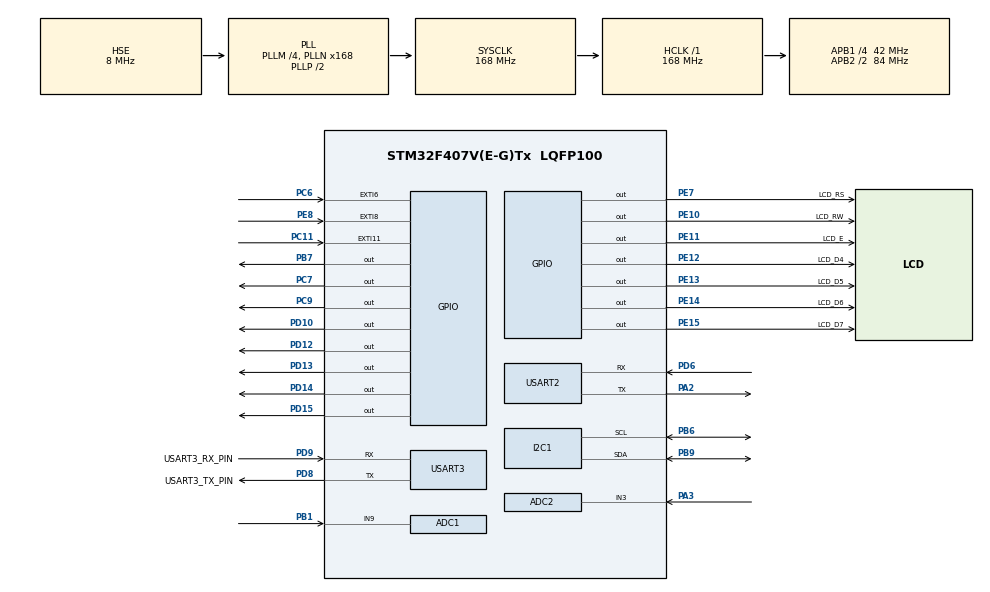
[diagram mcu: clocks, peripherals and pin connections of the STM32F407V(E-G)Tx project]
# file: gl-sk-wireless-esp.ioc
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ADC1.Channel-0\#ChannelRegularConversion=ADC_CHANNEL_9
ADC1.ClockPrescaler=ADC_CLOCK_SYNC_PCLK_DIV8
ADC1.NbrOfConversionFlag=1
ADC1.Rank-0\#ChannelRegularConversion=1
ADC1.SamplingTime-0\#ChannelRegularConversion=ADC_SAMPLETIME_480CYCLES
ADC1.ScanConvMode=DISABLE
ADC1.master=1
ADC2.Channel-1\#ChannelRegularConversion=ADC_CHANNEL_3
ADC2.ClockPrescaler=ADC_CLOCK_SYNC_PCLK_DIV8
ADC2.NbrOfConversionFlag=1
ADC2.Rank-1\#ChannelRegularConversion=1
ADC2.SamplingTime-1\#ChannelRegularConversion=ADC_SAMPLETIME_480CYCLES
FREERTOS.BinarySemaphores01=mBinSemDozeWater,Static,mBinSemDozeWaterControlBlock
FREERTOS.Queues01=myQueueCmds,128,uint8_t,0,Dynamic,NULL,NULL;myQueueDozeWater,1,int8_t,0,Dynamic,NULL,NULL;myQueueMsg,16,uint32_t,0,Dynamic,NULL,NULL
FREERTOS.Tasks01=defaultTask,0,228,StartDefaultTask,Default,NULL,Dynamic,NULL,NULL;TaskLeds,0,128,StartTaskLeds,Default,NULL,Dynamic,NULL,NULL;TaskAdc,0,128,StartTaskAdc,Default,NULL,Dynamic,NULL,NULL;TaskAt_debug,-1,128,task_at_debug,Default,NULL,Dynamic,NULL,NULL
FREERTOS.Timers01=myTimerPump,CallbackPump,osTimerOnce,Default,NULL,Dynamic,NULL
FREERTOS.configTOTAL_HEAP_SIZE=91536
FREERTOS.configUSE_TIMERS=1
Mcu.Family=STM32F4
Mcu.Name=STM32F407V(E-G)Tx
Mcu.Package=LQFP100
NVIC.EXTI15_10_IRQn=true\:5\:0\:false\:false\:true\:true\:true\:true
NVIC.EXTI9_5_IRQn=true\:5\:0\:false\:false\:true\:true\:true\:true
NVIC.PriorityGroup=NVIC_PRIORITYGROUP_4
NVIC.TIM6_DAC_IRQn=true\:0\:0\:false\:false\:true\:false\:false\:true
NVIC.TimeBase=TIM6_DAC_IRQn
NVIC.TimeBaseIP=TIM6
NVIC.USART2_IRQn=true\:5\:0\:false\:false\:true\:true\:true\:true
NVIC.USART3_IRQn=true\:5\:0\:false\:false\:true\:true\:true\:true
PA13.Mode=Serial_Wire
PA13.Signal=SYS_JTMS-SWDIO
PA14.Mode=Serial_Wire
PA14.Signal=SYS_JTCK-SWCLK
PA2.Mode=Asynchronous
PA2.Signal=USART2_TX
PA3.Signal=ADCx_IN3
PB1.Signal=ADCx_IN9
PB6.Mode=I2C
PB6.Signal=I2C1_SCL
PB7.Signal=GPIO_Output
PB9.Mode=I2C
PB9.Signal=I2C1_SDA
PC11.GPIO_ModeDefaultEXTI=GPIO_MODE_IT_RISING_FALLING
PC11.GPIO_PuPd=GPIO_PULLUP
PC11.Signal=GPXTI11
PC6.GPIO_ModeDefaultEXTI=GPIO_MODE_IT_FALLING
PC6.GPIO_PuPd=GPIO_PULLUP
PC6.Signal=GPXTI6
PC7.PinState=GPIO_PIN_SET
PC7.Signal=GPIO_Output
PC9.Signal=GPIO_Output
PD10.PinState=GPIO_PIN_SET
PD10.Signal=GPIO_Output
PD12.Signal=GPIO_Output
PD13.Signal=GPIO_Output
PD14.Signal=GPIO_Output
PD15.Signal=GPIO_Output
PD6.Mode=Asynchronous
PD6.Signal=USART2_RX
PD8.GPIO_Label=USART3_TX_PIN
PD8.Mode=Asynchronous
PD8.Signal=USART3_TX
PD9.GPIO_Label=USART3_RX_PIN
PD9.Mode=Asynchronous
PD9.Signal=USART3_RX
PE10.GPIO_Label=LCD_RW
PE10.GPIO_PuPd=GPIO_PULLDOWN
PE10.Signal=GPIO_Output
PE11.GPIO_Label=LCD_E
PE11.Signal=GPIO_Output
PE12.GPIO_Label=LCD_D4
PE12.Signal=GPIO_Output
PE13.GPIO_Label=LCD_D5
PE13.Signal=GPIO_Output
PE14.GPIO_Label=LCD_D6
PE14.Signal=GPIO_Output
PE15.GPIO_Label=LCD_D7
PE15.Signal=GPIO_Output
PE7.GPIO_Label=LCD_RS
PE7.PinState=GPIO_PIN_RESET
PE7.Signal=GPIO_Output
PE8.GPIO_ModeDefaultEXTI=GPIO_MODE_IT_RISING_FALLING
PE8.Signal=GPXTI8
PH0-OSC_IN.Mode=HSE-External-Oscillator
PH0-OSC_IN.Signal=RCC_OSC_IN
PH1-OSC_OUT.Mode=HSE-External-Oscillator
PH1-OSC_OUT.Signal=RCC_OSC_OUT
ProjectManager.HeapSize=0x200
ProjectManager.StackSize=0x400
ProjectManager.TargetToolchain=STM32CubeIDE
RCC.48MHZClocksFreq_Value=48000000
RCC.AHBFreq_Value=168000000
RCC.APB1CLKDivider=RCC_HCLK_DIV4
RCC.APB1Freq_Value=42000000
RCC.APB1TimFreq_Value=84000000
RCC.APB2CLKDivider=RCC_HCLK_DIV2
RCC.APB2Freq_Value=84000000
RCC.APB2TimFreq_Value=168000000
RCC.CortexFreq_Value=168000000
RCC.HCLKFreq_Value=168000000
RCC.HSE_VALUE=8000000
RCC.HSI_VALUE=16000000
RCC.LSE_VALUE=32768
RCC.PLLM=4
RCC.PLLN=168
RCC.PLLQ=7
RCC.PLLSourceVirtual=RCC_PLLSOURCE_HSE
RCC.SYSCLKFreq_VALUE=168000000
RCC.SYSCLKSource=RCC_SYSCLKSOURCE_PLLCLK
RCC.VCOOutputFreq_Value=336000000
SH.ADCx_IN3.0=ADC2_IN3,IN3
SH.ADCx_IN9.0=ADC1_IN9,IN9
USART2.VirtualMode=VM_ASYNC
USART3.VirtualMode=VM_ASYNC
VP_FREERTOS_VS_CMSIS_V1.Mode=CMSIS_V1
VP_SYS_VS_tim6.Mode=TIM6
board=STM32F4DISCOVERY

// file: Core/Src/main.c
/* USER CODE BEGIN Header */
/**
  ******************************************************************************
  * @file           : main.c
  * @brief          : Main program body
  ******************************************************************************
  * @attention
  *
  * <h2><center>&copy; Copyright (c) 2019 STMicroelectronics.
  * All rights reserved.</center></h2>
  *
  * This software component is licensed by ST under Ultimate Liberty license
  * SLA0044, the "License"; You may not use this file except in compliance with
  * the License. You may obtain a copy of the License at:
  *                             www.st.com/SLA0044
  *
  ******************************************************************************
  */
/* USER CODE END Header */

#include "main.h"
#include "cmsis_os.h"

/* USER CODE BEGIN Includes */
#include <string.h>
#include <stdio.h>
#include <stdbool.h>
#include "hd44780_driver.h"
#include "pca9685.h"
#include "jsmn.h"
#include "ringbuffer_dma.h"
/* USER CODE END Includes */

/* USER CODE BEGIN PD */
#define I2C_GPIO_ADDR	0x80
/* USER CODE END PD */

ADC_HandleTypeDef hadc1;
ADC_HandleTypeDef hadc2;

I2C_HandleTypeDef hi2c1;

UART_HandleTypeDef huart2;
UART_HandleTypeDef huart3;

osThreadId defaultTaskHandle;
osThreadId TaskLedsHandle;
osThreadId TaskAdcHandle;
osThreadId TaskAt_debugHandle;
osMessageQId myQueueCmdsHandle;
osMessageQId myQueueDozeWaterHandle;
osMessageQId myQueueMsgHandle;
osTimerId myTimerPumpHandle;
osSemaphoreId mBinSemDozeWaterHandle;
osStaticSemaphoreDef_t mBinSemDozeWaterControlBlock;
/* USER CODE BEGIN PV */
struct Status {
	int8_t isPumpOn;
	int8_t isFanOn;
	int8_t temperature;
	uint32_t gas;
} curStatus;
/* USER CODE END PV */

void SystemClock_Config(void);
static void MX_GPIO_Init(void);
static void MX_ADC1_Init(void);
static void MX_USART3_UART_Init(void);
static void MX_I2C1_Init(void);
static void MX_ADC2_Init(void);
static void MX_USART2_UART_Init(void);
void StartDefaultTask(void const * argument);
void StartTaskLeds(void const * argument);
void StartTaskAdc(void const * argument);
void task_at_debug(void const * argument);
void CallbackPump(void const * argument);

int main(void)
{

  /* MCU Configuration--------------------------------------------------------*/

  /* Reset of all peripherals, Initializes the Flash interface and the Systick. */
  HAL_Init();

  /* Configure the system clock */
  SystemClock_Config();

  /* Initialize all configured peripherals */
  MX_GPIO_Init();
  MX_ADC1_Init();
  MX_USART3_UART_Init();
  MX_I2C1_Init();
  MX_ADC2_Init();
  MX_USART2_UART_Init();
  /* USER CODE BEGIN 2 */
  pca9685_init(&hi2c1, I2C_GPIO_ADDR);
  pca9685_pwm(&hi2c1, I2C_GPIO_ADDR, 1, 0, 0);
  /* USER CODE END 2 */

  /* Create the semaphores(s) */
  /* definition and creation of mBinSemDozeWater */
  osSemaphoreStaticDef(mBinSemDozeWater, &mBinSemDozeWaterControlBlock);
  mBinSemDozeWaterHandle = osSemaphoreCreate(osSemaphore(mBinSemDozeWater), 1);

  /* Create the timer(s) */
  /* definition and creation of myTimerPump */
  osTimerDef(myTimerPump, CallbackPump);
  myTimerPumpHandle = osTimerCreate(osTimer(myTimerPump), osTimerOnce, NULL);

  /* Create the queue(s) */
  /* definition and creation of myQueueCmds */
  osMessageQDef(myQueueCmds, 128, uint8_t);
  myQueueCmdsHandle = osMessageCreate(osMessageQ(myQueueCmds), NULL);

  /* definition and creation of myQueueDozeWater */
  osMessageQDef(myQueueDozeWater, 1, int8_t);
  myQueueDozeWaterHandle = osMessageCreate(osMessageQ(myQueueDozeWater), NULL);

  /* definition and creation of myQueueMsg */
  osMessageQDef(myQueueMsg, 16, uint32_t);
  myQueueMsgHandle = osMessageCreate(osMessageQ(myQueueMsg), NULL);

  /* Create the thread(s) */
  /* definition and creation of defaultTask */
  osThreadDef(defaultTask, StartDefaultTask, osPriorityNormal, 0, 228);
  defaultTaskHandle = osThreadCreate(osThread(defaultTask), NULL);

  /* definition and creation of TaskLeds */
  osThreadDef(TaskLeds, StartTaskLeds, osPriorityNormal, 0, 128);
  TaskLedsHandle = osThreadCreate(osThread(TaskLeds), NULL);

  /* definition and creation of TaskAdc */
  osThreadDef(TaskAdc, StartTaskAdc, osPriorityNormal, 0, 128);
  TaskAdcHandle = osThreadCreate(osThread(TaskAdc), NULL);

  /* definition and creation of TaskAt_debug */
  osThreadDef(TaskAt_debug, task_at_debug, osPriorityBelowNormal, 0, 128);
  TaskAt_debugHandle = osThreadCreate(osThread(TaskAt_debug), NULL);

  /* Start scheduler */
  osKernelStart();

  /* We should never get here as control is now taken by the scheduler */
  /* Infinite loop */
  while (1)
  {

  }
}

void SystemClock_Config(void)
{
  RCC_OscInitTypeDef RCC_OscInitStruct = {0};
  RCC_ClkInitTypeDef RCC_ClkInitStruct = {0};

  /** Configure the main internal regulator output voltage
  */
  __HAL_RCC_PWR_CLK_ENABLE();
  __HAL_PWR_VOLTAGESCALING_CONFIG(PWR_REGULATOR_VOLTAGE_SCALE1);
  /** Initializes the CPU, AHB and APB busses clocks
  */
  RCC_OscInitStruct.OscillatorType = RCC_OSCILLATORTYPE_HSE;
  RCC_OscInitStruct.HSEState = RCC_HSE_ON;
  RCC_OscInitStruct.PLL.PLLState = RCC_PLL_ON;
  RCC_OscInitStruct.PLL.PLLSource = RCC_PLLSOURCE_HSE;
  RCC_OscInitStruct.PLL.PLLM = 4;
  RCC_OscInitStruct.PLL.PLLN = 168;
  RCC_OscInitStruct.PLL.PLLP = RCC_PLLP_DIV2;
  RCC_OscInitStruct.PLL.PLLQ = 7;
  if (HAL_RCC_OscConfig(&RCC_OscInitStruct) != HAL_OK)
  {
    Error_Handler();
  }
  /** Initializes the CPU, AHB and APB busses clocks
  */
  RCC_ClkInitStruct.ClockType = RCC_CLOCKTYPE_HCLK|RCC_CLOCKTYPE_SYSCLK
                              |RCC_CLOCKTYPE_PCLK1|RCC_CLOCKTYPE_PCLK2;
  RCC_ClkInitStruct.SYSCLKSource = RCC_SYSCLKSOURCE_PLLCLK;
  RCC_ClkInitStruct.AHBCLKDivider = RCC_SYSCLK_DIV1;
  RCC_ClkInitStruct.APB1CLKDivider = RCC_HCLK_DIV4;
  RCC_ClkInitStruct.APB2CLKDivider = RCC_HCLK_DIV2;

  if (HAL_RCC_ClockConfig(&RCC_ClkInitStruct, FLASH_LATENCY_5) != HAL_OK)
  {
    Error_Handler();
  }
}

static void MX_ADC1_Init(void)
{

  ADC_ChannelConfTypeDef sConfig = {0};

  /** Configure the global features of the ADC (Clock, Resolution, Data Alignment and number of conversion)
  */
  hadc1.Instance = ADC1;
  hadc1.Init.ClockPrescaler = ADC_CLOCK_SYNC_PCLK_DIV8;
  hadc1.Init.Resolution = ADC_RESOLUTION_12B;
  hadc1.Init.ScanConvMode = DISABLE;
  hadc1.Init.ContinuousConvMode = DISABLE;
  hadc1.Init.DiscontinuousConvMode = DISABLE;
  hadc1.Init.ExternalTrigConvEdge = ADC_EXTERNALTRIGCONVEDGE_NONE;
  hadc1.Init.ExternalTrigConv = ADC_SOFTWARE_START;
  hadc1.Init.DataAlign = ADC_DATAALIGN_RIGHT;
  hadc1.Init.NbrOfConversion = 1;
  hadc1.Init.DMAContinuousRequests = DISABLE;
  hadc1.Init.EOCSelection = ADC_EOC_SINGLE_CONV;
  if (HAL_ADC_Init(&hadc1) != HAL_OK)
  {
    Error_Handler();
  }
  /** Configure for the selected ADC regular channel its corresponding rank in the sequencer and its sample time.
  */
  sConfig.Channel = ADC_CHANNEL_9;
  sConfig.Rank = 1;
  sConfig.SamplingTime = ADC_SAMPLETIME_480CYCLES;
  if (HAL_ADC_ConfigChannel(&hadc1, &sConfig) != HAL_OK)
  {
    Error_Handler();
  }

}

static void MX_ADC2_Init(void)
{

  ADC_ChannelConfTypeDef sConfig = {0};

  /** Configure the global features of the ADC (Clock, Resolution, Data Alignment and number of conversion)
  */
  hadc2.Instance = ADC2;
  hadc2.Init.ClockPrescaler = ADC_CLOCK_SYNC_PCLK_DIV8;
  hadc2.Init.Resolution = ADC_RESOLUTION_12B;
  hadc2.Init.ScanConvMode = DISABLE;
  hadc2.Init.ContinuousConvMode = DISABLE;
  hadc2.Init.DiscontinuousConvMode = DISABLE;
  hadc2.Init.ExternalTrigConvEdge = ADC_EXTERNALTRIGCONVEDGE_NONE;
  hadc2.Init.ExternalTrigConv = ADC_SOFTWARE_START;
  hadc2.Init.DataAlign = ADC_DATAALIGN_RIGHT;
  hadc2.Init.NbrOfConversion = 1;
  hadc2.Init.DMAContinuousRequests = DISABLE;
  hadc2.Init.EOCSelection = ADC_EOC_SINGLE_CONV;
  if (HAL_ADC_Init(&hadc2) != HAL_OK)
  {
    Error_Handler();
  }
  /** Configure for the selected ADC regular channel its corresponding rank in the sequencer and its sample time.
  */
  sConfig.Channel = ADC_CHANNEL_3;
  sConfig.Rank = 1;
  sConfig.SamplingTime = ADC_SAMPLETIME_480CYCLES;
  if (HAL_ADC_ConfigChannel(&hadc2, &sConfig) != HAL_OK)
  {
    Error_Handler();
  }

}

static void MX_I2C1_Init(void)
{

  hi2c1.Instance = I2C1;
  hi2c1.Init.ClockSpeed = 100000;
  hi2c1.Init.DutyCycle = I2C_DUTYCYCLE_2;
  hi2c1.Init.OwnAddress1 = 0;
  hi2c1.Init.AddressingMode = I2C_ADDRESSINGMODE_7BIT;
  hi2c1.Init.DualAddressMode = I2C_DUALADDRESS_DISABLE;
  hi2c1.Init.OwnAddress2 = 0;
  hi2c1.Init.GeneralCallMode = I2C_GENERALCALL_DISABLE;
  hi2c1.Init.NoStretchMode = I2C_NOSTRETCH_DISABLE;
  if (HAL_I2C_Init(&hi2c1) != HAL_OK)
  {
    Error_Handler();
  }

}

static void MX_USART2_UART_Init(void)
{

  /* USER CODE BEGIN USART2_Init 1 */
	// recv interrupt force enable
	USART2->CR1 |= USART_CR1_RXNEIE;
  /* USER CODE END USART2_Init 1 */
  huart2.Instance = USART2;
  huart2.Init.BaudRate = 115200;
  huart2.Init.WordLength = UART_WORDLENGTH_8B;
  huart2.Init.StopBits = UART_STOPBITS_1;
  huart2.Init.Parity = UART_PARITY_NONE;
  huart2.Init.Mode = UART_MODE_TX_RX;
  huart2.Init.HwFlowCtl = UART_HWCONTROL_NONE;
  huart2.Init.OverSampling = UART_OVERSAMPLING_16;
  if (HAL_UART_Init(&huart2) != HAL_OK)
  {
    Error_Handler();
  }

}

static void MX_USART3_UART_Init(void)
{

  /* USER CODE BEGIN USART3_Init 1 */
	// recv interrupt force enable
	USART3->CR1 |= USART_CR1_RXNEIE;
  /* USER CODE END USART3_Init 1 */
  huart3.Instance = USART3;
  huart3.Init.BaudRate = 115200;
  huart3.Init.WordLength = UART_WORDLENGTH_8B;
  huart3.Init.StopBits = UART_STOPBITS_1;
  huart3.Init.Parity = UART_PARITY_NONE;
  huart3.Init.Mode = UART_MODE_TX_RX;
  huart3.Init.HwFlowCtl = UART_HWCONTROL_NONE;
  huart3.Init.OverSampling = UART_OVERSAMPLING_16;
  if (HAL_UART_Init(&huart3) != HAL_OK)
  {
    Error_Handler();
  }
  /* USER CODE BEGIN USART3_Init 2 */
  USART3->CR1 |= USART_CR1_RXNEIE;
  /* USER CODE END USART3_Init 2 */

}

static void MX_GPIO_Init(void)
{
  GPIO_InitTypeDef GPIO_InitStruct = {0};

  /* GPIO Ports Clock Enable */
  __HAL_RCC_GPIOH_CLK_ENABLE();
  __HAL_RCC_GPIOA_CLK_ENABLE();
  __HAL_RCC_GPIOB_CLK_ENABLE();
  __HAL_RCC_GPIOE_CLK_ENABLE();
  __HAL_RCC_GPIOD_CLK_ENABLE();
  __HAL_RCC_GPIOC_CLK_ENABLE();

  /*Configure GPIO pin Output Level */
  HAL_GPIO_WritePin(GPIOE, LCD_RS_Pin|LCD_RW_Pin|LCD_E_Pin|LCD_D4_Pin
                          |LCD_D5_Pin|LCD_D6_Pin|LCD_D7_Pin, GPIO_PIN_RESET);

  /*Configure GPIO pin Output Level */
  HAL_GPIO_WritePin(GPIOD, GPIO_PIN_10, GPIO_PIN_SET);

  /*Configure GPIO pin Output Level */
  HAL_GPIO_WritePin(GPIOD, GPIO_PIN_12|GPIO_PIN_13|GPIO_PIN_14|GPIO_PIN_15, GPIO_PIN_RESET);

  /*Configure GPIO pin Output Level */
  HAL_GPIO_WritePin(GPIOC, GPIO_PIN_7, GPIO_PIN_SET);

  /*Configure GPIO pin Output Level */
  HAL_GPIO_WritePin(GPIOC, GPIO_PIN_9, GPIO_PIN_RESET);

  /*Configure GPIO pin Output Level */
  HAL_GPIO_WritePin(GPIOB, GPIO_PIN_7, GPIO_PIN_RESET);

  /*Configure GPIO pins : LCD_RS_Pin LCD_E_Pin LCD_D4_Pin LCD_D5_Pin
                           LCD_D6_Pin LCD_D7_Pin */
  GPIO_InitStruct.Pin = LCD_RS_Pin|LCD_E_Pin|LCD_D4_Pin|LCD_D5_Pin
                          |LCD_D6_Pin|LCD_D7_Pin;
  GPIO_InitStruct.Mode = GPIO_MODE_OUTPUT_PP;
  GPIO_InitStruct.Pull = GPIO_NOPULL;
  GPIO_InitStruct.Speed = GPIO_SPEED_FREQ_LOW;
  HAL_GPIO_Init(GPIOE, &GPIO_InitStruct);

  /*Configure GPIO pin : PE8 */
  GPIO_InitStruct.Pin = GPIO_PIN_8;
  GPIO_InitStruct.Mode = GPIO_MODE_IT_RISING_FALLING;
  GPIO_InitStruct.Pull = GPIO_NOPULL;
  HAL_GPIO_Init(GPIOE, &GPIO_InitStruct);

  /*Configure GPIO pin : LCD_RW_Pin */
  GPIO_InitStruct.Pin = LCD_RW_Pin;
  GPIO_InitStruct.Mode = GPIO_MODE_OUTPUT_PP;
  GPIO_InitStruct.Pull = GPIO_PULLDOWN;
  GPIO_InitStruct.Speed = GPIO_SPEED_FREQ_LOW;
  HAL_GPIO_Init(LCD_RW_GPIO_Port, &GPIO_InitStruct);

  /*Configure GPIO pins : PD10 PD12 PD13 PD14
                           PD15 */
  GPIO_InitStruct.Pin = GPIO_PIN_10|GPIO_PIN_12|GPIO_PIN_13|GPIO_PIN_14
                          |GPIO_PIN_15;
  GPIO_InitStruct.Mode = GPIO_MODE_OUTPUT_PP;
  GPIO_InitStruct.Pull = GPIO_NOPULL;
  GPIO_InitStruct.Speed = GPIO_SPEED_FREQ_LOW;
  HAL_GPIO_Init(GPIOD, &GPIO_InitStruct);

  /*Configure GPIO pin : PC6 */
  GPIO_InitStruct.Pin = GPIO_PIN_6;
  GPIO_InitStruct.Mode = GPIO_MODE_IT_FALLING;
  GPIO_InitStruct.Pull = GPIO_PULLUP;
  HAL_GPIO_Init(GPIOC, &GPIO_InitStruct);

  /*Configure GPIO pins : PC7 PC9 */
  GPIO_InitStruct.Pin = GPIO_PIN_7|GPIO_PIN_9;
  GPIO_InitStruct.Mode = GPIO_MODE_OUTPUT_PP;
  GPIO_InitStruct.Pull = GPIO_NOPULL;
  GPIO_InitStruct.Speed = GPIO_SPEED_FREQ_LOW;
  HAL_GPIO_Init(GPIOC, &GPIO_InitStruct);

  /*Configure GPIO pin : PC11 */
  GPIO_InitStruct.Pin = GPIO_PIN_11;
  GPIO_InitStruct.Mode = GPIO_MODE_IT_RISING_FALLING;
  GPIO_InitStruct.Pull = GPIO_PULLUP;
  HAL_GPIO_Init(GPIOC, &GPIO_InitStruct);

  /*Configure GPIO pin : PB7 */
  GPIO_InitStruct.Pin = GPIO_PIN_7;
  GPIO_InitStruct.Mode = GPIO_MODE_OUTPUT_PP;
  GPIO_InitStruct.Pull = GPIO_NOPULL;
  GPIO_InitStruct.Speed = GPIO_SPEED_FREQ_LOW;
  HAL_GPIO_Init(GPIOB, &GPIO_InitStruct);

  /* EXTI interrupt init*/
  HAL_NVIC_SetPriority(EXTI9_5_IRQn, 5, 0);
  HAL_NVIC_EnableIRQ(EXTI9_5_IRQn);

  HAL_NVIC_SetPriority(EXTI15_10_IRQn, 5, 0);
  HAL_NVIC_EnableIRQ(EXTI15_10_IRQn);

}

/* USER CODE BEGIN 4 */
static void TurnFanOff(void){
//	HAL_GPIO_WritePin(GPIOC, GPIO_PIN_7, GPIO_PIN_SET);
	pca9685_pwm(&hi2c1, I2C_GPIO_ADDR, 1, 0, 0);
	osMessagePut(myQueueMsgHandle, (uint32_t)"Fan stopped", 1);
	curStatus.isFanOn = 0;
}

static void TurnFanOn(void){
//	HAL_GPIO_WritePin(GPIOC, GPIO_PIN_7, GPIO_PIN_RESET);
	pca9685_pwm(&hi2c1, I2C_GPIO_ADDR, 1, 0, 4095);
	osMessagePut(myQueueMsgHandle, (uint32_t)"Fan started", 1);
	curStatus.isFanOn = 1;
}

static void TurnPumpOff(void){
	//HAL_GPIO_WritePin(GPIOC, GPIO_PIN_9, GPIO_PIN_RESET);
	pca9685_pwm(&hi2c1, I2C_GPIO_ADDR, 0, 0, 0);
	osMessagePut(myQueueMsgHandle, (uint32_t)"Pump stopped", 1);
	curStatus.isPumpOn = 0;
}

static void TurnPumpOn(void){
	//HAL_GPIO_WritePin(GPIOC, GPIO_PIN_9, GPIO_PIN_SET);
	pca9685_pwm(&hi2c1, I2C_GPIO_ADDR, 0, 0, 4095);
	osMessagePut(myQueueMsgHandle, (uint32_t)"Pump started", 1);
	curStatus.isPumpOn = 1;
}

void DoseWater(void) {
	osStatus res = osMessagePut(myQueueDozeWaterHandle, 1, 1);
	if (res == osOK) {
		osMessagePut(myQueueCmdsHandle, PUMP_ON, 1);
		osTimerStart(myTimerPumpHandle, 50);
	}
}

static uint8_t LRC(const char *data) {
	uint8_t lrc = 0;
	//   for (const byte of data) {
	//     lrc += byte;
	//   }
	while(*data) {
	   lrc += *data++;
	}
	return ((lrc ^ 0xff) + 1) & 0xff;
}

const int8_t SOH = 0x01;
const int8_t STX = 0x02;
const int8_t ETX = 0x03;
const int8_t EOT = 0x04;

static void makePacket(const char *data, uint8_t *buf) {

	const int8_t HEADER_SIZE = 4;
//	const int8_t TRAILER_SIZE = 3;
//	const int8_t OVERHEAD_SIZE = HEADER_SIZE + TRAILER_SIZE;

//	const buf = Buffer.alloc(data.length + OVERHEAD_SIZE);
	buf[0] = SOH;
	buf[1] = strlen(data) & 0xff;
	buf[2] = (strlen(data) >> 8) & 0xff;
	buf[3] = STX;
	int32_t trailer = HEADER_SIZE + strlen(data);
	memcpy((char *)(buf + HEADER_SIZE), data, strlen(data));
	//const trailer = buf.slice(data.length + HEADER_SIZE);
	*(buf + trailer + 0) = ETX;
	*(buf + trailer + 1) = LRC(data);
	*(buf + trailer + 2) = EOT;
//	trailer[1] = Packet.LRC(data);
//	trailer[2] = EOT;
//	return buf;
}

void uputs(UART_HandleTypeDef* huart,char* str) {
	size_t sz = strlen(str);
	HAL_UART_Transmit(huart, (uint8_t*)str, sz, 10);
	HAL_UART_Transmit(huart, (uint8_t*)"\r\n", 2, 10);
}

/* USER CODE END 4 */

void StartDefaultTask(void const * argument)
{
  /* USER CODE BEGIN 5 */
	LcdInit();
	LcdShow2Lines("WirelessFirmware", "0.0.0");
	osDelay(500);
	debug("WirelessFirmware started");
	at_init();
  /* Infinite loop */
	for(;;)
	{
		osDelay(100);
		/*osEvent evt = osMessageGet(myQueueMsgHandle, osWaitForever);
		if (evt.status == osEventMessage) {
//			const char *msg = (const char *)evt.value.p;
//			LcdShowMessage(msg);
			char l1[9] = { 0 };
			char l2[9] = { 0 };
			char l3[9] = { 0 };
			char l4[9] = { 0 };
			sprintf(l1, "Temp:%2d", curStatus.temperature);
			sprintf(l2, "Pump:%3s", (curStatus.isPumpOn ? "ON" : "OFF"));
			sprintf(l3, "Fan:%3s", (curStatus.isFanOn ? "ON" : "OFF"));
			sprintf(l4, "Gas:%4ld", curStatus.gas);
			LcdShow4Lines(l1, l2, l3, l4);
			osDelay(100);
		}*/
	}
  /* USER CODE END 5 */
}

void StartTaskLeds(void const * argument)
{
  /* USER CODE BEGIN StartTaskLeds */
  /* Infinite loop */
	uint32_t dval = 250;
	for(;;)
	{
		HAL_GPIO_TogglePin(GPIOD, GPIO_PIN_12);
		osDelay(dval);
		HAL_GPIO_TogglePin(GPIOD, GPIO_PIN_12);
		HAL_GPIO_TogglePin(GPIOD, GPIO_PIN_13);
		osDelay(dval);
		HAL_GPIO_TogglePin(GPIOD, GPIO_PIN_13);
		HAL_GPIO_TogglePin(GPIOD, GPIO_PIN_14);
		osDelay(dval);
		HAL_GPIO_TogglePin(GPIOD, GPIO_PIN_14);
		HAL_GPIO_TogglePin(GPIOD, GPIO_PIN_15);
		osDelay(dval);
		HAL_GPIO_TogglePin(GPIOD, GPIO_PIN_15);
	}
  /* USER CODE END StartTaskLeds */
}

void StartTaskAdc(void const * argument)
{
  /* USER CODE BEGIN StartTaskAdc */
  /* Infinite loop */
	int8_t isFanOn = 0;
	for(;;)
	{
		osDelay(3000);
		HAL_ADC_Start(&hadc1);
		HAL_ADC_PollForConversion(&hadc1, 1000);
		uint32_t temperature = HAL_ADC_GetValue(&hadc1);
		HAL_ADC_Stop(&hadc1);
//		static char buf[100];
//		sprintf(buf, "%ld", value);
//		osMessagePut(myQueueMsgHandle, (uint32_t)buf, 1);
		double voltage = 3.3 * temperature / 4095;
		curStatus.temperature = (2.5 - voltage) * 50 - 25;
		if (curStatus.temperature <= 28 && isFanOn) {
			osMessagePut(myQueueCmdsHandle, FAN_OFF, 1);
			isFanOn = 0;
		}
		else if (curStatus.temperature > 28 && !isFanOn) {
			osMessagePut(myQueueCmdsHandle, FAN_ON, 1);
			isFanOn = 1;
		}

//		if (0) { DMA!!!!!
//			uint8_t buf[100] = { 0 };
//			sprintf((char *)buf, "value=%lu\n", value);
//			HAL_UART_Transmit(&huart3, buf, strlen((char *)buf), 1000);
//		}

		HAL_ADC_Start(&hadc2);
		HAL_ADC_PollForConversion(&hadc2, 1000);
		uint32_t pollution = HAL_ADC_GetValue(&hadc2);
		HAL_ADC_Stop(&hadc2);
		static char buf[100];
		sprintf(buf, "%ld", pollution);
		curStatus.gas = pollution;
		osMessagePut(myQueueMsgHandle, (uint32_t)buf, 1);
	}
  /* USER CODE END StartTaskAdc */
}

void task_at_debug(void const * argument)
{
  /* USER CODE BEGIN task_at_debug */
  /* Infinite loop */
	debug("task at debug started");
  for(;;)
  {
	  /* output input from esp */
/*
	  uint8_t r;
		if(HAL_OK == HAL_UART_Receive(AT_SERIAL, &r, 1, 100)) {
			HAL_UART_Transmit(DEBUG_SERIAL, &r,1,0);
		}
*/
  }
  /* USER CODE END task_at_debug */
}

/* CallbackPump function */
void CallbackPump(void const * argument)
{
  /* USER CODE BEGIN CallbackPump */
	//osTimerStop(myTimerPumpHandle);
	osDelay(3000);
	osMessageGet(myQueueDozeWaterHandle, 100);
	osMessagePut(myQueueCmdsHandle, PUMP_OFF, 1);
  /* USER CODE END CallbackPump */
}

 /**
  * @brief  Period elapsed callback in non blocking mode
  * @note   This function is called  when TIM6 interrupt took place, inside
  * HAL_TIM_IRQHandler(). It makes a direct call to HAL_IncTick() to increment
  * a global variable "uwTick" used as application time base.
  * @param  htim : TIM handle
  * @retval None
  */
void HAL_TIM_PeriodElapsedCallback(TIM_HandleTypeDef *htim)
{
  if (htim->Instance == TIM6) {
    HAL_IncTick();
  }
}

void Error_Handler(void)
{
  /* USER CODE BEGIN Error_Handler_Debug */
  /* User can add his own implementation to report the HAL error return state */
	while(1);
  /* USER CODE END Error_Handler_Debug */
}

/************************ (C) COPYRIGHT STMicroelectronics *****END OF FILE****/
